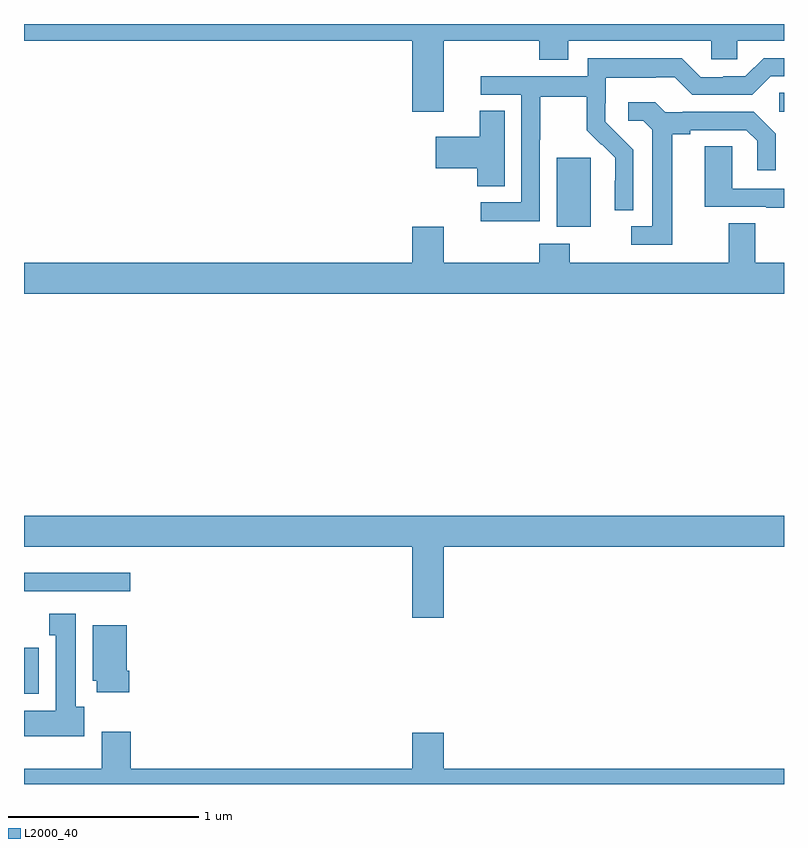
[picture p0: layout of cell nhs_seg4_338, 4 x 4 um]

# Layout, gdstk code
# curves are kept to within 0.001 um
import gdstk
lib = gdstk.Library(unit=1e-6, precision=1e-09)
def R(c, l, rs):  # rectangles x0, y0, x1, y1
    for r in rs: c.add(gdstk.rectangle(r[:2], r[2:], *l))
def P(c, l, *ps):  # polygons
    for p in ps: c.add(gdstk.Polygon(p, *l))
L2000_40 = (2000, 40)

nhs_seg4_338 = lib.new_cell('nhs_seg4_338')
R(nhs_seg4_338, L2000_40, [(127,801.374,127.078,801.616), (127,801.915,127.558,802.012), (129.803,803.834,129.982,804.195), (130.974,804.438,131,804.539)])
P(nhs_seg4_338, L2000_40, [(129.208,804.812),(129.713,804.812),(129.713,804.713),(129.865,804.713),(129.865,804.812),(130.617,804.812),(130.617,804.714),(130.755,804.714),(130.755,804.812),(131,804.812),(131,804.9),(127,804.9),(127,804.812),(129.044,804.812),(129.044,804.438),(129.208,804.438)],
  [(129.714,804.292),(129.717,804.292),(129.717,804.516),(129.961,804.516),(129.961,804.341),(130.038,804.264),(130.041,804.267),(130.112,804.197),(130.112,804.074),(130.11,804.074),(130.11,803.92),(130.206,803.92),(130.206,804.238),(130.06,804.386),(130.06,804.483),(130.062,804.483),(130.062,804.617),(130.325,804.617),(130.325,804.621),(130.425,804.621),(130.518,804.528),(130.833,804.528),(130.929,804.624),(131,804.624),(131,804.72),(130.893,804.72),(130.797,804.624),(130.679,804.624),(130.679,804.621),(130.563,804.621),(130.463,804.721),(129.966,804.721),(129.966,804.624),(129.405,804.624),(129.405,804.528),(129.618,804.528),(129.618,803.961),(129.405,803.961),(129.405,803.863),(129.714,803.863)],
  [(130.411,804.32),(130.507,804.32),(130.507,804.342),(130.802,804.342),(130.859,804.285),(130.859,804.129),(130.956,804.129),(130.956,804.322),(130.84,804.438),(130.468,804.438),(130.468,804.435),(130.374,804.435),(130.322,804.487),(130.179,804.487),(130.179,804.39),(130.26,804.39),(130.307,804.343),(130.307,803.835),(130.197,803.835),(130.197,803.739),(130.411,803.739)],
  [(129.529,804.443),(129.398,804.443),(129.398,804.307),(129.168,804.307),(129.168,804.142),(129.386,804.142),(129.386,804.046),(129.529,804.046)],
  [(131,804.033),(130.728,804.033),(130.728,804.257),(130.583,804.257),(130.583,803.937),(130.907,803.937),(130.907,803.933),(131,803.933)],
  [(131,803.644),(130.849,803.644),(130.849,803.852),(130.709,803.852),(130.709,803.644),(129.873,803.644),(129.873,803.743),(129.713,803.743),(129.713,803.644),(129.208,803.644),(129.208,803.833),(129.044,803.833),(129.044,803.644),(127,803.644),(127,803.48),(131,803.48)],
  [(129.208,802.148),(131,802.148),(131,802.312),(127,802.312),(127,802.148),(129.044,802.148),(129.044,801.774),(129.208,801.774)],
  [(127.318,801.306),(127.273,801.306),(127.273,801.796),(127.133,801.796),(127.133,801.683),(127.166,801.683),(127.166,801.286),(127,801.286),(127,801.152),(127.318,801.152)],
  [(127.553,801.496),(127.54,801.496),(127.54,801.736),(127.361,801.736),(127.361,801.444),(127.382,801.444),(127.382,801.384),(127.553,801.384)],
  [(131,800.98),(129.208,800.98),(129.208,801.169),(129.044,801.169),(129.044,800.98),(127.562,800.98),(127.562,801.175),(127.409,801.175),(127.409,800.98),(127,800.98),(127,800.9),(131,800.9)])

lib.write_gds('nhs_seg4_338.gds')
